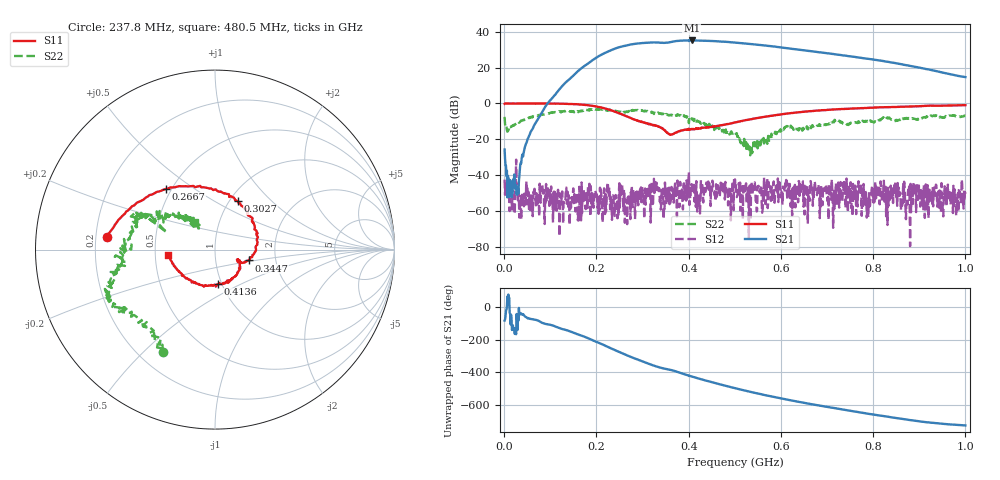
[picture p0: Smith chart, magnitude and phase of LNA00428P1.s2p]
! Created with skrf 1.9.0 (http://scikit-rf.org).
# Hz S RI R 50.0
!freq ReS11 ImS11 ReS21 ImS21 ReS12 ImS12 ReS22 ImS22
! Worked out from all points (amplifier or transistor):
!   1001 points, 1 MHz to 1 GHz, reference 50 ohm
!   highest |S21| = 35.0 dB at 406.6 MHz (marker M1)
!   |S21| within 3 dB of that: 261.9 MHz to 571.8 MHz (310 MHz wide, 74.4 % of centre) (the widest 1 of 2)
!   unconditionally stable (mu >= 1): start of sweep to 56.81 MHz; 228.2 MHz to 319.6 MHz; 319.7 MHz to end of sweep (the widest 3 of 34)
!   at 166.8 MHz: K = 6.84, MAG = 30.8 dB, |S12| = -65.0 dB
!   at 500.5 MHz: K = 1.37, MAG = 34.4 dB, |S12| = -42.2 dB
!   at 1 GHz: K = 5.02, MAG = 22.5 dB, |S12| = -50.3 dB
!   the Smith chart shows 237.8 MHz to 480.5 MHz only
!   S11 on the Smith chart (normalised r, x): 237.8 MHz: 0.25, +0.05; 266.7 MHz: 0.47, +0.39; 302.7 MHz: 1.09, +0.65; 344.7 MHz: 1.45, -0.18; 413.6 MHz: 0.96, -0.38; 480.5 MHz: 0.58, -0.04
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1000000  0.9787 0.000349  0.00706 -0.052  -0.00375 0.00668  0.321 0.2791
1.09891e8  0.512 -0.8534  -0.7946 -1.532  0.00214 0.00275  0.4384 -0.3772
1.67833e8  -0.2259 -0.9022  -9.593 -0.7999  0.00303 -0.00566  0.0535 -0.6374
2.08792e8  -0.666 -0.415  -15.82 15.31  -0.002 0.000636  -0.1933 -0.6633
2.37763e8  -0.6029 0.0703  -4.951 32.34  0.00138 -0.000831  -0.2909 -0.5729
2.66734e8  -0.2742 0.3381  19.09 36.95  -0.000299 -0.000326  -0.4646 -0.369
2.83717e8  -0.061 0.347  33.12 31.44  -0.000233 -0.000568  -0.5802 -0.2849
3.02698e8  0.1274 0.2695  44.28 18.39  0.000931 0.0026  -0.581 -0.199
3.34666e8  0.226 0.0151  48.76 -7.989  -0.00377 -0.00244  -0.5527 -0.0321
3.44656e8  0.188 -0.0602  45.95 -14.36  -0.00113 0.00413  -0.5062 0.00155
3.73627e8  0.1385 -0.0775  43.55 -32.93  -0.000639 0.00511  -0.4483 0.1549
4.06594e8  0.0582 -0.1863  22.12 -51.95  -0.00266 0.0051  -0.3245 0.2133
4.13587e8  0.0155 -0.1925  16.38 -53.7  0.00439 0.00198  -0.284 0.1695
4.45555e8  -0.1431 -0.1689  -8.077 -54.08  0.00324 0.00501  -0.1828 0.183
4.8052e8  -0.2621 -0.0327  -29.62 -42.71  0.00123 0.00554  -0.1093 0.1558
5.005e8  -0.2844 0.082  -37.66 -32.34  0.00655 -0.0042  -0.104 0.0852
5.4046e8  -0.2391 0.2957  -42.88 -10.65  0.00609 0.00174  -0.083 0.00179
5.88412e8  -0.056 0.4675  -36.3 10.37  -0.00163 -0.00329  -0.1351 -0.0832
6.67333e8  0.3167 0.528  -14.57 23.9  -0.00406 -0.00208  -0.2326 -0.0528
7.53247e8  0.6227 0.3698  3.556 19.89  -0.00111 0.0005  -0.2819 -0.0148
8.34166e8  0.7812 0.1381  10.34 9.817  -0.00141 -0.00307  -0.3915 -0.0014
1e9  0.81 -0.3902  5.339 -0.8573  0.000786 -0.00297  -0.3211 0.3125
